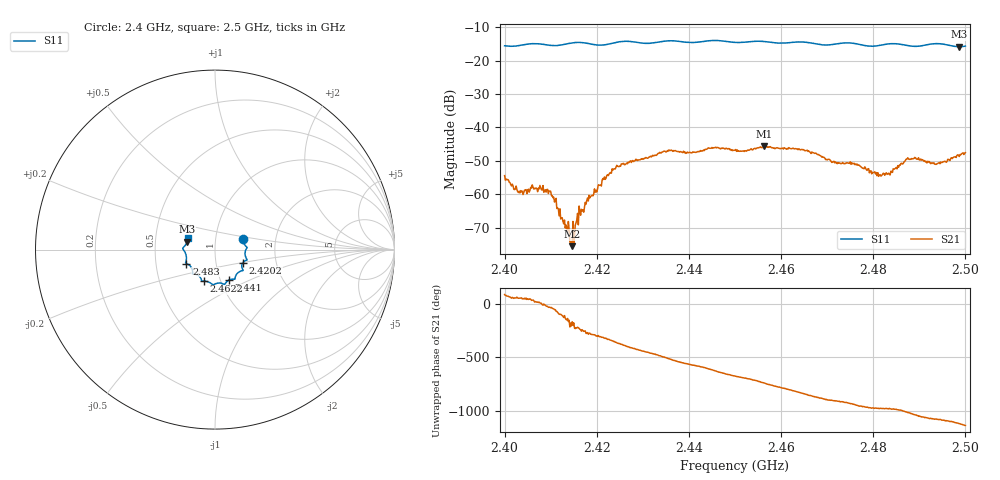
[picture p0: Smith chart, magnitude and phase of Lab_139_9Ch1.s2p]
# Hz S RI R 50
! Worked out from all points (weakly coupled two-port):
!   601 points, 2.4 GHz to 2.5 GHz, reference 50 ohm
!   highest |S21| = -45.58 dB at 2.4563 GHz (marker M1); lowest = -75.6 dB at 2.4147 GHz (marker M2)
!   lowest |S11| = -15.8 dB at 2.4987 GHz (marker M3), VSWR 1.39, Z = 36.4 + j3.33 ohm
!   |S11| at or under -10 dB: start of sweep to end of sweep
!   S12 and S22 are empty: the file has one direction only
!   S11 on the Smith chart (normalised r, x): 2.4 GHz: 1.36, +0.17; 2.4202 GHz: 1.35, -0.20; 2.441 GHz: 1.09, -0.39; 2.4622 GHz: 0.83, -0.30; 2.483 GHz: 0.72, -0.12; 2.5 GHz: 0.73, +0.10
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2.4e9  0.1561 0.0599  0.000193 0.00189  0 0  0 0
2.4035e9  0.1688 0.0224  0.000693 0.000894  0 0  0 0
2.406167e9  0.1794 0.0134  0.00107 0.000699  0 0  0 0
2.409667e9  0.1702 -0.0042  0.000921 -0.000635  0 0  0 0
2.414667e9  0.1772 -0.0532  -0.000163 -3.28e-05  0 0  0 0
2.415833e9  0.179 -0.057  -0.000395 0.000332  0 0  0 0
2.416667e9  0.1777 -0.0582  -0.000148 0.000576  0 0  0 0
2.420167e9  0.1558 -0.0719  0.000686 0.000987  0 0  0 0
2.423833e9  0.1523 -0.1064  0.00237 0.000336  0 0  0 0
2.433333e9  0.1128 -0.1524  -0.00198 -0.00359  0 0  0 0
2.441e9  0.0765 -0.1706  -0.0036 0.00226  0 0  0 0
2.445833e9  0.0521 -0.1941  -0.000443 0.00504  0 0  0 0
2.45e9  0.0262 -0.186  0.00314 0.00329  0 0  0 0
2.456333e9  -0.0149 -0.1933  0.00504 -0.00151  0 0  0 0
2.462167e9  -0.0634 -0.1763  0.000631 -0.00477  0 0  0 0
2.466667e9  -0.0763 -0.1667  -0.00316 -0.00291  0 0  0 0
2.483e9  -0.1594 -0.078  -0.00053 0.00191  0 0  0 0
2.483333e9  -0.1608 -0.0773  -0.000461 0.00201  0 0  0 0
2.4875e9  -0.1594 -0.054  0.00132 0.00326  0 0  0 0
2.494e9  -0.1798 0.00681  0.00288 0.00025  0 0  0 0
2.498667e9  -0.1554 0.0445  0.003 -0.00212  0 0  0 0
2.5e9  -0.1527 0.0634  0.00261 -0.00329  0 0  0 0
